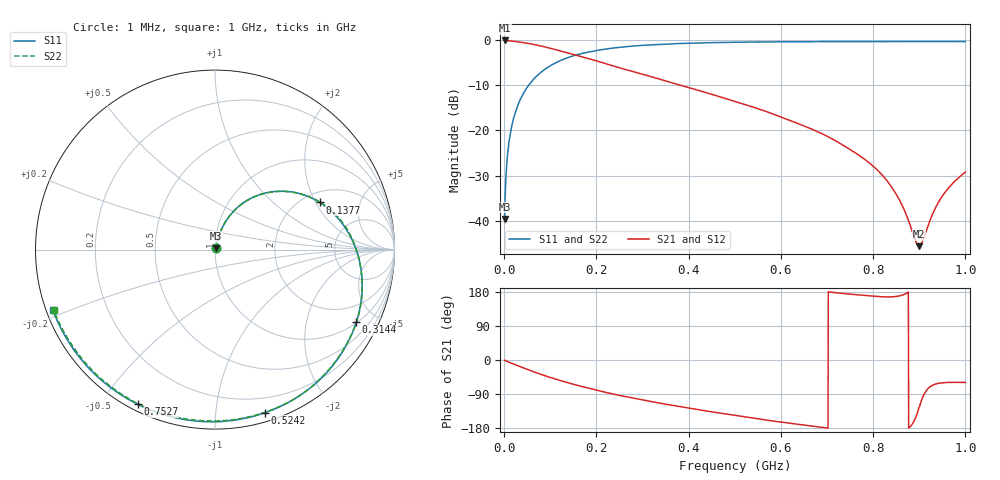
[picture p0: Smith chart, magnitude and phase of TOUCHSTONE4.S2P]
!Agilent Technologies,E5071C,MY46104870,A.11.22
!Date: Sun Jan 01 01:42:35 2017
!Data & Calibration Information:
!Freq	S11:SOLT2(ON)	S21:SOLT2(ON)	S12:SOLT2(ON)	S22:SOLT2(ON)
!PortZ  Port1:50+j0  Port2:50+j0
!Above PortZ is port z conversion or system Z0 setting when saving the data.
!When reading, reference impedance value at option line is always used.
# Hz S dB R 50
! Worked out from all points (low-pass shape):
!   1601 points, 1 MHz to 1 GHz, reference 50 ohm
!   highest |S21| = -0.07 dB at 2.249 MHz (marker M1); lowest = -45.6 dB at 900.1 MHz (marker M2)
!   |S21| within 3 dB of the highest: start of sweep to 146.5 MHz
!   lowest |S11| = -39.6 dB at 1 MHz (marker M3), VSWR 1.02, Z = 50.8 + j0.727 ohm
!   |S11| at or under -10 dB: start of sweep to 53 MHz
!   |S22| runs from -39.4 to -0.3 dB; largest |S21 - S12| = 0.0043
!   S11 on the Smith chart (normalised r, x): 1 MHz: 1.02, +0.01; 137.7 MHz: 2.44, +2.16; 314.4 MHz: 1.04, -3.86; 524.2 MHz: 0.07, -1.35; 752.7 MHz: 0.03, -0.62; 1 GHz: 0.02, -0.18
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1000000  -39.59 43.1  -0.07 -0.6  -0.06 -0.5  -39.42 46.1
2248750  -34.31 61.8  -0.07 -1.3  -0.07 -1.3  -34.55 63.9
7868125  -24.82 73.9  -0.12 -4.5  -0.12 -4.4  -24.88 74.1
1.286312e7  -20.98 73.3  -0.17 -7.0  -0.16 -7.0  -20.95 73.4
2.222875e7  -16.67 70.5  -0.27 -11.7  -0.27 -11.7  -16.68 70.7
3.471625e7  -13.18 65.5  -0.44 -17.7  -0.44 -17.7  -13.19 65.6
7.530062e7  -7.51 48.5  -1.19 -36.0  -1.20 -36.0  -7.48 48.2
1.377381e8  -3.88 24.2  -2.82 -59.9  -2.82 -60.0  -3.84 24.2
1.677081e8  -2.98 13.9  -3.66 -69.7  -3.67 -69.8  -2.96 14.4
2.376381e8  -1.73 -7.2  -5.73 -90.1  -5.67 -90.2  -1.75 -6.9
3.144362e8  -1.06 -27.3  -7.96 -108.7  -8.00 -108.6  -1.06 -26.8
3.344162e8  -0.95 -32.1  -8.55 -113.3  -8.59 -113.1  -0.96 -31.6
5.005e8  -0.46 -68.2  -13.56 -146.1  -13.54 -146.1  -0.48 -68.1
5.242262e8  -0.44 -73.0  -14.32 -150.3  -14.31 -150.5  -0.46 -73.0
6.672081e8  -0.34 -100.9  -19.72 -174.2  -19.79 -174.6  -0.38 -100.5
7.527475e8  -0.32 -116.5  -24.39 173.5  -24.35 174.1  -0.35 -115.9
8.339162e8  -0.32 -130.9  -31.66 166.4  -31.59 166.7  -0.36 -130.8
8.613888e8  -0.31 -135.7  -36.29 170.5  -36.13 170.2  -0.36 -135.6
8.919831e8  -0.31 -141.1  -44.35 -152.6  -44.40 -152.8  -0.37 -140.7
9.001e8  -0.32 -142.5  -45.61 -123.9  -45.46 -124.8  -0.37 -142.0
9.475525e8  -0.32 -150.7  -34.92 -60.4  -35.02 -60.6  -0.37 -150.2
1e9  -0.32 -159.8  -29.19 -59.4  -29.26 -59.4  -0.35 -159.5
